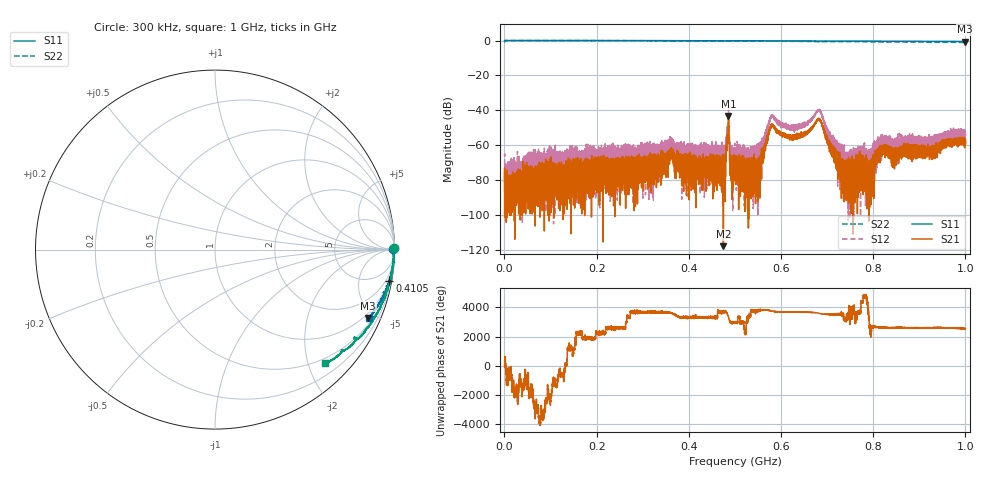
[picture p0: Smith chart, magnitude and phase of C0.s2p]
!Agilent Technologies,N5230C,SG49000117,A.08.50.07
!Agilent N5230C: A.08.50.07
!Date: Monday, December 11, 2023 22:51:14
!Correction: S11(Full 2 Port(1,2))
!S21(Full 2 Port(1,2))
!S12(Full 2 Port(1,2))
!S22(Full 2 Port(1,2))
!S2P File: Measurements: S11, S21, S12, S22:
# Hz S  RI  R 50
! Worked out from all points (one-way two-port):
!   20001 points, 300 kHz to 1 GHz, reference 50 ohm
!   highest |S21| = -43.13 dB at 485.9 MHz (marker M1); lowest = -117.6 dB at 475 MHz (marker M2)
!   lowest |S11| = -0.6 dB at 999 MHz (marker M3), VSWR 29.12, Z = 38.4 - j228 ohm
!   |S11| at or under -10 dB: nowhere
!   |S22| runs from -1.2 to 0.0 dB; largest |S21 - S12| = 0.0061
!   S11 on the Smith chart (normalised r, x): 300 kHz: open; 410.5 MHz: 1, -11; 1 GHz: 0.73, -4.59
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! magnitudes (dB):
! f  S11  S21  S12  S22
! 300 kHz  -0.1  -75.8  -66.4  0.0
! 5.798 MHz  0.0  -84.5  -73.1  0.0
! 166.9 MHz  0.0  -73.2  -65.8  -0.1
! 333.5 MHz  -0.1  -68.4  -64.5  -0.1
! 361.3 MHz  -0.1  -63.6  -59.4  -0.2
! 410.5 MHz  -0.1  -67.6  -63.4  -0.2
! 475 MHz  -0.1  -117.6  -73.9  -0.3
! 485.9 MHz  -0.2  -43.1  -37.8  -0.5
! 493.2 MHz  -0.2  -74.2  -63.7  -0.3
! 500.1 MHz  -0.1  -72.0  -65.3  -0.3
! 550.4 MHz  -0.2  -81.0  -61.3  -0.4
! 580.4 MHz  -0.3  -48.5  -43.2  -0.4
! 626.6 MHz  -0.2  -55.0  -51.3  -0.5
! 666.8 MHz  -0.3  -50.1  -45.3  -0.5
! 684.7 MHz  -0.3  -45.4  -40.4  -0.7
! 745.8 MHz  -0.3  -79.9  -72.6  -0.6
! 772.4 MHz  -0.4  -70.3  -67.1  -0.7
! 792 MHz  -0.4  -81.7  -68.7  -0.7
! 812.6 MHz  -0.4  -64.8  -62.0  -0.8
! 833.4 MHz  -0.4  -62.9  -56.8  -0.9
! 999 MHz  -0.6  -59.2  -55.1  -1.1
! 1 GHz  -0.6  -58.9  -53.4  -1.1
